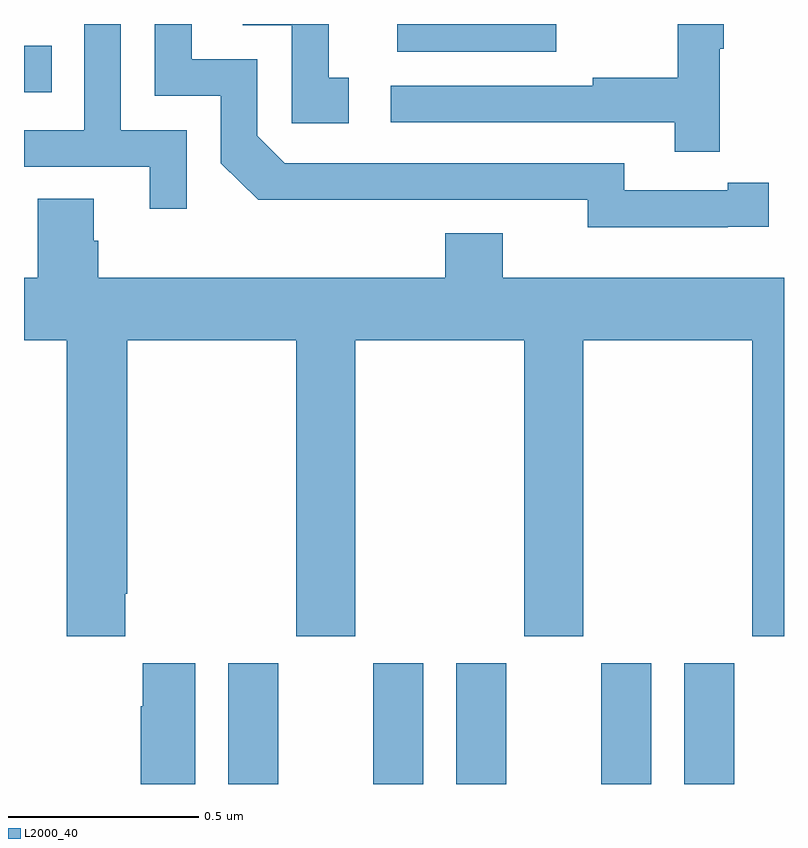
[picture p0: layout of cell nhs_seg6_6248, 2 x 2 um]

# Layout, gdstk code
import gdstk
lib = gdstk.Library(unit=1e-6, precision=1e-09)
def R(c, l, rs):  # rectangles x0, y0, x1, y1
    for r in rs: c.add(gdstk.rectangle(r[:2], r[2:], *l))
def P(c, l, *ps):  # polygons
    for p in ps: c.add(gdstk.Polygon(p, *l))
L2000_40 = (2000, 40)

nhs_seg6_6248 = lib.new_cell('nhs_seg6_6248')
R(nhs_seg6_6248, L2000_40, [(193.538,947.5,193.669,947.818), (193.919,947.5,194.05,947.818), (194.138,947.5,194.269,947.818), (194.519,947.5,194.65,947.818), (194.738,947.5,194.869,947.818), (193,949.32,193.073,949.443), (193.982,949.427,194.401,949.5)])
P(nhs_seg6_6248, L2000_40, [(194.852,948.966),(194.96,948.966),(194.96,949.082),(194.852,949.082),(194.852,949.062),(194.58,949.062),(194.58,949.134),(193.686,949.134),(193.614,949.206),(193.614,949.407),(193.441,949.407),(193.441,949.5),(193.344,949.5),(193.344,949.311),(193.518,949.311),(193.518,949.134),(193.616,949.037),(194.024,949.037),(194.024,949.038),(194.484,949.038),(194.484,948.965),(194.852,948.965)],
  [(193.428,949.221),(193.254,949.221),(193.254,949.5),(193.158,949.5),(193.158,949.221),(193,949.221),(193,949.125),(193.331,949.125),(193.331,949.014),(193.428,949.014)],
  [(194.831,949.435),(194.842,949.435),(194.842,949.5),(194.721,949.5),(194.721,949.358),(194.497,949.358),(194.497,949.338),(193.965,949.338),(193.965,949.242),(194.713,949.242),(194.713,949.164),(194.831,949.164)],
  [(193.855,949.359),(193.802,949.359),(193.802,949.5),(193.575,949.5),(193.575,949.497),(193.704,949.497),(193.704,949.239),(193.855,949.239)],
  [(193.267,948.001),(193.272,948.001),(193.272,948.668),(193.717,948.668),(193.717,947.889),(193.872,947.889),(193.872,948.668),(194.317,948.668),(194.317,947.889),(194.472,947.889),(194.472,948.668),(194.917,948.668),(194.917,947.889),(195,947.889),(195,948.832),(194.26,948.832),(194.26,948.949),(194.108,948.949),(194.108,948.832),(193.196,948.832),(193.196,948.93),(193.183,948.93),(193.183,949.04),(193.036,949.04),(193.036,948.832),(193,948.832),(193,948.668),(193.112,948.668),(193.112,947.889),(193.267,947.889)],
  [(193.313,947.818),(193.313,947.705),(193.307,947.705),(193.307,947.5),(193.45,947.5),(193.45,947.818)])

lib.write_gds('nhs_seg6_6248.gds')
